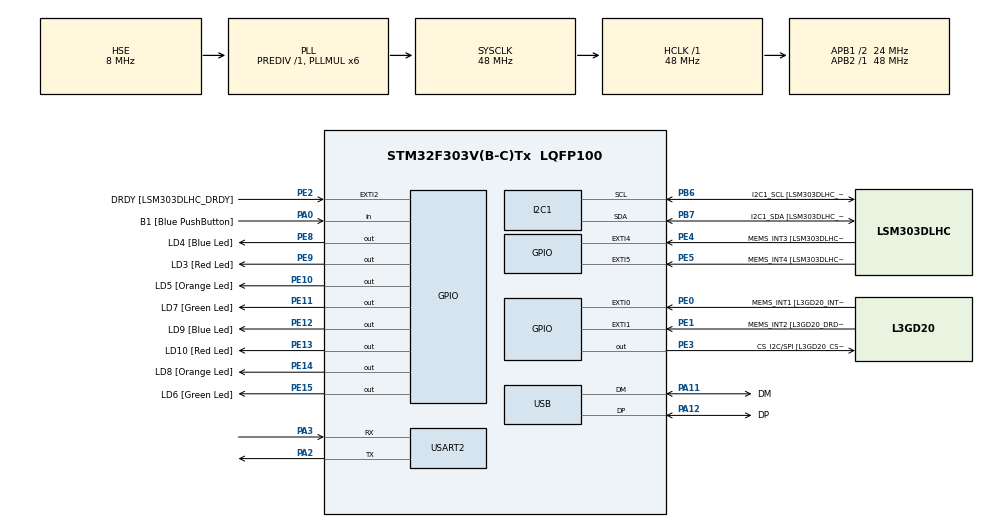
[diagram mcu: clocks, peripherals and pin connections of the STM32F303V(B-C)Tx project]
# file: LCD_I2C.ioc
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I2C1.Timing=0x00201D2B
I2C1.Timing-I2C=0x2000090E
Mcu.Family=STM32F3
Mcu.Name=STM32F303V(B-C)Tx
Mcu.Package=LQFP100
NVIC.PriorityGroup=NVIC_PRIORITYGROUP_0
PA0.GPIO_Label=B1 [Blue PushButton]
PA0.Signal=GPIO_Input
PA11.GPIO_Label=DM
PA11.Mode=Device
PA11.Signal=USB_DM
PA12.GPIO_Label=DP
PA12.Mode=Device
PA12.Signal=USB_DP
PA13.GPIO_Label=SWDIO
PA13.Mode=Serial_Wire
PA13.Signal=SYS_JTMS-SWDIO
PA14.GPIO_Label=SWCLK
PA14.Mode=Serial_Wire
PA14.Signal=SYS_JTCK-SWCLK
PA2.Mode=Asynchronous
PA2.Signal=USART2_TX
PA3.Mode=Asynchronous
PA3.Signal=USART2_RX
PA5.GPIO_Label=SPI1_SCK [L3GD20_SCL/SPC]
PA5.Signal=SPI1_SCK
PA6.GPIO_Label=SPI1_MISO [L3GD20_SA0/SDO]
PA6.Signal=SPI1_MISO
PA7.GPIO_Label=SPI1_MISO [L3GD20_SDA/SDI/SDO]
PA7.Signal=SPI1_MOSI
PB3.GPIO_Label=SWO
PB3.Signal=SYS_JTDO-TRACESWO
PB6.GPIO_Label=I2C1_SCL [LSM303DLHC_SCL]
PB6.GPIO_Pu=GPIO_PULLUP
PB6.Mode=I2C
PB6.Signal=I2C1_SCL
PB7.GPIO_Label=I2C1_SDA [LSM303DLHC_SDA]
PB7.GPIO_Pu=GPIO_PULLUP
PB7.Mode=I2C
PB7.Signal=I2C1_SDA
PC14-OSC32_IN.GPIO_Label=OSC32_IN
PC14-OSC32_IN.Signal=RCC_OSC32_IN
PC15-OSC32_OUT.GPIO_Label=OSC32_OUT
PC15-OSC32_OUT.Signal=RCC_OSC32_OUT
PE0.GPIO_Label=MEMS_INT1 [L3GD20_INT1]
PE0.GPIO_ModeDefaultEXTI=GPIO_MODE_EVT_RISING
PE0.Signal=GPXTI0
PE1.GPIO_Label=MEMS_INT2 [L3GD20_DRDY/INT2]
PE1.GPIO_ModeDefaultEXTI=GPIO_MODE_EVT_RISING
PE1.Signal=GPXTI1
PE10.GPIO_Label=LD5 [Orange Led]
PE10.Signal=GPIO_Output
PE11.GPIO_Label=LD7 [Green Led]
PE11.Signal=GPIO_Output
PE12.GPIO_Label=LD9 [Blue Led]
PE12.Signal=GPIO_Output
PE13.GPIO_Label=LD10 [Red Led]
PE13.Signal=GPIO_Output
PE14.GPIO_Label=LD8 [Orange Led]
PE14.Signal=GPIO_Output
PE15.GPIO_Label=LD6 [Green Led]
PE15.Signal=GPIO_Output
PE2.GPIO_Label=DRDY [LSM303DLHC_DRDY]
PE2.GPIO_ModeDefaultEXTI=GPIO_MODE_EVT_RISING
PE2.Signal=GPXTI2
PE3.GPIO_Label=CS_I2C/SPI [L3GD20_CS_I2C/SPI]
PE3.Signal=GPIO_Output
PE4.GPIO_Label=MEMS_INT3 [LSM303DLHC_INT1]
PE4.GPIO_ModeDefaultEXTI=GPIO_MODE_EVT_RISING
PE4.Signal=GPXTI4
PE5.GPIO_Label=MEMS_INT4 [LSM303DLHC_INT2]
PE5.GPIO_ModeDefaultEXTI=GPIO_MODE_EVT_RISING
PE5.Signal=GPXTI5
PE8.GPIO_Label=LD4 [Blue Led]
PE8.Signal=GPIO_Output
PE9.GPIO_Label=LD3 [Red Led]
PE9.Signal=GPIO_Output
PF0-OSC_IN.GPIO_Label=OSC_IN
PF0-OSC_IN.Mode=HSE-External-Clock-Source
PF0-OSC_IN.Signal=RCC_OSC_IN
PF1-OSC_OUT.GPIO_Label=OSC_OUT
PF1-OSC_OUT.Signal=RCC_OSC_OUT
ProjectManager.HeapSize=0x200
ProjectManager.StackSize=0x400
ProjectManager.TargetToolchain=CMake
RCC.AHBFreq_Value=48000000
RCC.APB1CLKDivider=RCC_HCLK_DIV2
RCC.APB1Freq_Value=24000000
RCC.APB1TimFreq_Value=48000000
RCC.APB2Freq_Value=48000000
RCC.APB2TimFreq_Value=48000000
RCC.CortexFreq_Value=48000000
RCC.HCLKFreq_Value=48000000
RCC.HSE_VALUE=8000000
RCC.HSI_VALUE=8000000
RCC.LSE_VALUE=32768
RCC.PLLMUL=RCC_PLL_MUL6
RCC.SYSCLKFreq_VALUE=48000000
RCC.SYSCLKSourceVirtual=RCC_SYSCLKSOURCE_PLLCLK
RCC.USBFreq_Value=48000000
USART2.VirtualMode-Asynchronous=VM_ASYNC
board=STM32F3DISCOVERY

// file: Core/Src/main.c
/* USER CODE BEGIN Header */
/**
  ******************************************************************************
  * @file           : main.c
  * @brief          : Main program body
  ******************************************************************************
  * @attention
  *
  * Copyright (c) 2025 STMicroelectronics.
  * All rights reserved.
  *
  * This software is licensed under terms that can be found in the LICENSE file
  * in the root directory of this software component.
  * If no LICENSE file comes with this software, it is provided AS-IS.
  *
  ******************************************************************************
  */
/* USER CODE END Header */
#include "main.h"
#include <stdio.h>

/* USER CODE BEGIN Includes */
#include "i2c-lcd.h"
#include "stm32f3xx_hal.h"
/* USER CODE END Includes */

I2C_HandleTypeDef hi2c1;
UART_HandleTypeDef huart2;
PCD_HandleTypeDef hpcd_USB_FS;

void SystemClock_Config(void);
static void MX_GPIO_Init(void);
static void MX_I2C1_Init(void);
static void MX_USART2_UART_Init(void);
static void MX_USB_PCD_Init(void);
void affiche_number(void);
void affiche_float(void);
void affiche_welcome(void);

/* USER CODE BEGIN 0 */
int row=0;
int col=0;
#define HAL_DELAY_TO_OUPUT 10000
int __io_putchar(int ch)
{
  HAL_UART_Transmit(&huart2, (const uint8_t *)&ch, 1, HAL_DELAY_TO_OUPUT);
  return(1);
}

void affiche_welcome(void)
{
  lcd_put_cur(0, 0);
  lcd_send_string ("Welcome to my");
  lcd_put_cur(1, 0);
  lcd_send_string("Discovery F303");
}

void affiche_number(void)
{
//Display Number
  int num = 65535;
  char numChar[6] = {0};
  sprintf(numChar, "%d", num);
  lcd_put_cur(0, 0);
  lcd_send_string (numChar);
  lcd_put_cur(1,0);
  lcd_send_string("Affiche entier");
}

// Display Float
void affiche_float(void)
{
  /*
  float flt = 25.345;
  char fltChar[] ={"........................."};
  int nb_char = sprintf(fltChar, "%f", flt);
  printf("nb char : 0x%x \r\n", nb_char);
  lcd_put_cur(0, 0);
  lcd_send_string (fltChar);
  lcd_put_cur(1,0);
  lcd_send_string("Affiche flottant");
  */
  char buffer[12];
  static int8_t temperature_en_10eme = 0;
  temperature_en_10eme += 1;
  uint8_t degres = temperature_en_10eme / 10;
  uint8_t dixieme = temperature_en_10eme - degres * 10;
  sprintf(buffer, "%d.%.1d", degres, dixieme);
  lcd_put_cur(0, 0);
  lcd_send_string (buffer);
  lcd_put_cur(1,0);
  lcd_send_string("Affiche décimal");
}

/* USER CODE END 0 */

int main(void)
{

  /* USER CODE BEGIN 1 */
  #define MYDELAY 1000
  /* USER CODE END 1 */

  /* MCU Configuration--------------------------------------------------------*/

  /* Reset of all peripherals, Initializes the Flash interface and the Systick. */
  HAL_Init();

  /* Configure the system clock */
  SystemClock_Config();

  /* Initialize all configured peripherals */
  MX_GPIO_Init();
  MX_I2C1_Init();
  MX_USART2_UART_Init();
  MX_USB_PCD_Init();

  /* USER CODE BEGIN 2 */

lcd_init();

  /* USER CODE END 2 */

  /* Infinite loop */
  /* USER CODE BEGIN WHILE */
  while (1)

  {
    affiche_welcome();
    HAL_Delay(MYDELAY);
    lcd_clear();

    affiche_float();
    HAL_Delay(MYDELAY);
    lcd_clear();

    affiche_number();
    HAL_Delay(MYDELAY);
    lcd_clear();

    /* USER CODE END WHILE */

  }
}

void SystemClock_Config(void)
{
  RCC_OscInitTypeDef RCC_OscInitStruct = {0};
  RCC_ClkInitTypeDef RCC_ClkInitStruct = {0};
  RCC_PeriphCLKInitTypeDef PeriphClkInit = {0};

  /** Initializes the RCC Oscillators according to the specified parameters
  * in the RCC_OscInitTypeDef structure.
  */
  RCC_OscInitStruct.OscillatorType = RCC_OSCILLATORTYPE_HSI|RCC_OSCILLATORTYPE_HSE;
  RCC_OscInitStruct.HSEState = RCC_HSE_BYPASS;
  RCC_OscInitStruct.HSEPredivValue = RCC_HSE_PREDIV_DIV1;
  RCC_OscInitStruct.HSIState = RCC_HSI_ON;
  RCC_OscInitStruct.HSICalibrationValue = RCC_HSICALIBRATION_DEFAULT;
  RCC_OscInitStruct.PLL.PLLState = RCC_PLL_ON;
  RCC_OscInitStruct.PLL.PLLSource = RCC_PLLSOURCE_HSE;
  RCC_OscInitStruct.PLL.PLLMUL = RCC_PLL_MUL6;
  if (HAL_RCC_OscConfig(&RCC_OscInitStruct) != HAL_OK)
  {
    Error_Handler();
  }

  /** Initializes the CPU, AHB and APB buses clocks
  */
  RCC_ClkInitStruct.ClockType = RCC_CLOCKTYPE_HCLK|RCC_CLOCKTYPE_SYSCLK
                              |RCC_CLOCKTYPE_PCLK1|RCC_CLOCKTYPE_PCLK2;
  RCC_ClkInitStruct.SYSCLKSource = RCC_SYSCLKSOURCE_PLLCLK;
  RCC_ClkInitStruct.AHBCLKDivider = RCC_SYSCLK_DIV1;
  RCC_ClkInitStruct.APB1CLKDivider = RCC_HCLK_DIV2;
  RCC_ClkInitStruct.APB2CLKDivider = RCC_HCLK_DIV1;

  if (HAL_RCC_ClockConfig(&RCC_ClkInitStruct, FLASH_LATENCY_1) != HAL_OK)
  {
    Error_Handler();
  }
  PeriphClkInit.PeriphClockSelection = RCC_PERIPHCLK_USB|RCC_PERIPHCLK_USART2
                              |RCC_PERIPHCLK_I2C1;
  PeriphClkInit.Usart2ClockSelection = RCC_USART2CLKSOURCE_PCLK1;
  PeriphClkInit.I2c1ClockSelection = RCC_I2C1CLKSOURCE_HSI;
  PeriphClkInit.USBClockSelection = RCC_USBCLKSOURCE_PLL;
  if (HAL_RCCEx_PeriphCLKConfig(&PeriphClkInit) != HAL_OK)
  {
    Error_Handler();
  }
}

static void MX_I2C1_Init(void)
{

  hi2c1.Instance = I2C1;
  hi2c1.Init.Timing = 0x00201D2B;
  hi2c1.Init.OwnAddress1 = 0;
  hi2c1.Init.AddressingMode = I2C_ADDRESSINGMODE_7BIT;
  hi2c1.Init.DualAddressMode = I2C_DUALADDRESS_DISABLE;
  hi2c1.Init.OwnAddress2 = 0;
  hi2c1.Init.OwnAddress2Masks = I2C_OA2_NOMASK;
  hi2c1.Init.GeneralCallMode = I2C_GENERALCALL_DISABLE;
  hi2c1.Init.NoStretchMode = I2C_NOSTRETCH_DISABLE;
  if (HAL_I2C_Init(&hi2c1) != HAL_OK)
  {
    Error_Handler();
  }

  /** Configure Analogue filter
  */
  if (HAL_I2CEx_ConfigAnalogFilter(&hi2c1, I2C_ANALOGFILTER_ENABLE) != HAL_OK)
  {
    Error_Handler();
  }

  /** Configure Digital filter
  */
  if (HAL_I2CEx_ConfigDigitalFilter(&hi2c1, 0) != HAL_OK)
  {
    Error_Handler();
  }

}

static void MX_USART2_UART_Init(void)
{

  huart2.Instance = USART2;
  huart2.Init.BaudRate = 38400;
  huart2.Init.WordLength = UART_WORDLENGTH_8B;
  huart2.Init.StopBits = UART_STOPBITS_1;
  huart2.Init.Parity = UART_PARITY_NONE;
  huart2.Init.Mode = UART_MODE_TX_RX;
  huart2.Init.HwFlowCtl = UART_HWCONTROL_NONE;
  huart2.Init.OverSampling = UART_OVERSAMPLING_16;
  huart2.Init.OneBitSampling = UART_ONE_BIT_SAMPLE_DISABLE;
  huart2.AdvancedInit.AdvFeatureInit = UART_ADVFEATURE_NO_INIT;
  if (HAL_UART_Init(&huart2) != HAL_OK)
  {
    Error_Handler();
  }

}

static void MX_USB_PCD_Init(void)
{

  hpcd_USB_FS.Instance = USB;
  hpcd_USB_FS.Init.dev_endpoints = 8;
  hpcd_USB_FS.Init.speed = PCD_SPEED_FULL;
  hpcd_USB_FS.Init.phy_itface = PCD_PHY_EMBEDDED;
  hpcd_USB_FS.Init.low_power_enable = DISABLE;
  hpcd_USB_FS.Init.battery_charging_enable = DISABLE;
  if (HAL_PCD_Init(&hpcd_USB_FS) != HAL_OK)
  {
    Error_Handler();
  }

}

static void MX_GPIO_Init(void)
{
  GPIO_InitTypeDef GPIO_InitStruct = {0};

  /* GPIO Ports Clock Enable */
  __HAL_RCC_GPIOE_CLK_ENABLE();
  __HAL_RCC_GPIOC_CLK_ENABLE();
  __HAL_RCC_GPIOF_CLK_ENABLE();
  __HAL_RCC_GPIOA_CLK_ENABLE();
  __HAL_RCC_GPIOB_CLK_ENABLE();

  /*Configure GPIO pin Output Level */
  HAL_GPIO_WritePin(GPIOE, CS_I2C_SPI_Pin|LD4_Pin|LD3_Pin|LD5_Pin
                          |LD7_Pin|LD9_Pin|LD10_Pin|LD8_Pin
                          |LD6_Pin, GPIO_PIN_RESET);

  /*Configure GPIO pins : DRDY_Pin MEMS_INT3_Pin MEMS_INT4_Pin MEMS_INT1_Pin
                           MEMS_INT2_Pin */
  GPIO_InitStruct.Pin = DRDY_Pin|MEMS_INT3_Pin|MEMS_INT4_Pin|MEMS_INT1_Pin
                          |MEMS_INT2_Pin;
  GPIO_InitStruct.Mode = GPIO_MODE_EVT_RISING;
  GPIO_InitStruct.Pull = GPIO_NOPULL;
  HAL_GPIO_Init(GPIOE, &GPIO_InitStruct);

  /*Configure GPIO pins : CS_I2C_SPI_Pin LD4_Pin LD3_Pin LD5_Pin
                           LD7_Pin LD9_Pin LD10_Pin LD8_Pin
                           LD6_Pin */
  GPIO_InitStruct.Pin = CS_I2C_SPI_Pin|LD4_Pin|LD3_Pin|LD5_Pin
                          |LD7_Pin|LD9_Pin|LD10_Pin|LD8_Pin
                          |LD6_Pin;
  GPIO_InitStruct.Mode = GPIO_MODE_OUTPUT_PP;
  GPIO_InitStruct.Pull = GPIO_NOPULL;
  GPIO_InitStruct.Speed = GPIO_SPEED_FREQ_LOW;
  HAL_GPIO_Init(GPIOE, &GPIO_InitStruct);

  /*Configure GPIO pin : B1_Pin */
  GPIO_InitStruct.Pin = B1_Pin;
  GPIO_InitStruct.Mode = GPIO_MODE_INPUT;
  GPIO_InitStruct.Pull = GPIO_NOPULL;
  HAL_GPIO_Init(B1_GPIO_Port, &GPIO_InitStruct);

  /*Configure GPIO pins : SPI1_SCK_Pin SPI1_MISO_Pin SPI1_MISOA7_Pin */
  GPIO_InitStruct.Pin = SPI1_SCK_Pin|SPI1_MISO_Pin|SPI1_MISOA7_Pin;
  GPIO_InitStruct.Mode = GPIO_MODE_AF_PP;
  GPIO_InitStruct.Pull = GPIO_NOPULL;
  GPIO_InitStruct.Speed = GPIO_SPEED_FREQ_HIGH;
  GPIO_InitStruct.Alternate = GPIO_AF5_SPI1;
  HAL_GPIO_Init(GPIOA, &GPIO_InitStruct);

}

void Error_Handler(void)
{
  __disable_irq();
  while (1)
  {
  }
}
